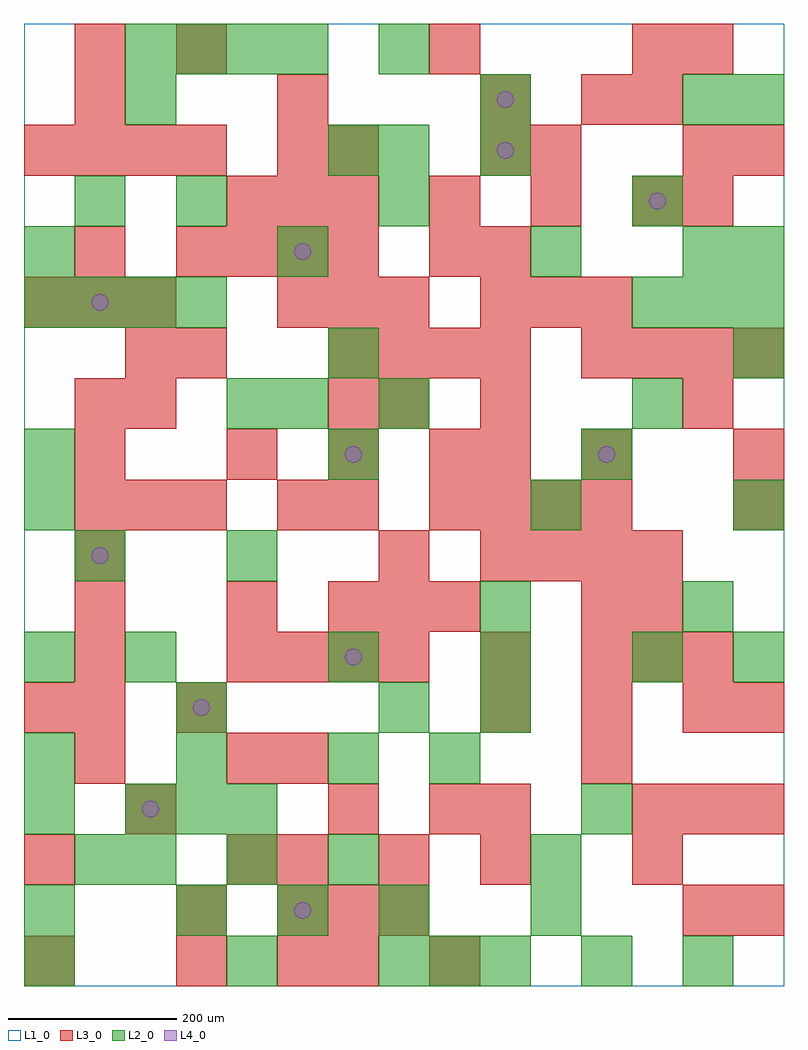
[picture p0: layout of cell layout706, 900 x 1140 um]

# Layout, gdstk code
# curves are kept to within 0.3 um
import gdstk
lib = gdstk.Library(unit=1e-6, precision=1e-09)
def R(c, l, rs):  # rectangles x0, y0, x1, y1
    for r in rs: c.add(gdstk.rectangle(r[:2], r[2:], *l))
def A(c, l, x, y, w, h, nx, ny, dx, dy):  # array of equal rectangles
    R(c, l, [(x+i*dx, y+j*dy, x+i*dx+w, y+j*dy+h) for i in range(nx) for j in range(ny)])
def P(c, l, *ps):  # polygons
    for p in ps: c.add(gdstk.Polygon(p, *l))
L1_0 = (1, 0)
L2_0 = (2, 0)
L3_0 = (3, 0)
L4_0 = (4, 0)

layout706 = lib.new_cell('layout706')
R(layout706, L1_0, [(0,0,900,1140)])
A(layout706, L2_0, 420, 0, 60, 60, 3, 1, 60, 0)
A(layout706, L2_0, 780, 0, 60, 60, 1, 3, 0, 420)
A(layout706, L2_0, 180, 60, 60, 60, 3, 1, 120, 0)
A(layout706, L2_0, 120, 120, 60, 60, 3, 1, 120, 0)
A(layout706, L2_0, 0, 180, 60, 60, 1, 3, 0, 180)
A(layout706, L2_0, 120, 180, 60, 60, 3, 1, 60, 0)
A(layout706, L2_0, 0, 240, 60, 60, 3, 1, 180, 0)
A(layout706, L2_0, 360, 360, 60, 60, 3, 1, 180, 0)
A(layout706, L2_0, 840, 360, 60, 60, 1, 3, 0, 180)
A(layout706, L2_0, 0, 780, 60, 60, 4, 1, 60, 0)
A(layout706, L2_0, 720, 780, 60, 60, 3, 1, 60, 0)
A(layout706, L2_0, 0, 840, 60, 60, 3, 1, 300, 0)
A(layout706, L2_0, 120, 1080, 60, 60, 4, 1, 60, 0)
R(layout706, L2_0, [(0,0,60,60), (240,0,300,60), (660,0,720,60), (0,60,60,120), (600,60,660,120), (60,120,120,180), (600,120,660,180), (660,180,720,240), (480,240,540,300), (180,300,240,360), (420,300,480,360), (540,300,600,360), (120,360,180,420), (540,420,600,480), (60,480,120,540), (240,480,300,540), (600,540,660,600), (0,600,60,660), (360,600,420,660), (660,600,720,660), (240,660,300,720), (300,660,360,720), (420,660,480,720), (720,660,780,720), (360,720,420,780), (840,840,900,900), (60,900,120,960), (180,900,240,960), (420,900,480,960), (720,900,780,960), (360,960,420,1020), (420,960,480,1020), (540,960,600,1020), (120,1020,180,1080), (540,1020,600,1080), (780,1020,840,1080), (840,1020,900,1080), (420,1080,480,1140)])
A(layout706, L3_0, 300, 60, 60, 60, 3, 2, 60, 720)
A(layout706, L3_0, 840, 60, 60, 60, 1, 3, 0, 240)
A(layout706, L3_0, 300, 120, 60, 60, 3, 1, 120, 0)
A(layout706, L3_0, 720, 180, 60, 60, 3, 1, 60, 0)
A(layout706, L3_0, 60, 240, 60, 60, 1, 5, 0, 60)
A(layout706, L3_0, 660, 240, 60, 60, 1, 3, 0, 180)
A(layout706, L3_0, 540, 300, 60, 60, 3, 1, 120, 0)
A(layout706, L3_0, 240, 360, 60, 60, 4, 1, 60, 0)
A(layout706, L3_0, 660, 360, 60, 60, 3, 1, 60, 0)
A(layout706, L3_0, 360, 420, 60, 60, 3, 1, 60, 0)
A(layout706, L3_0, 540, 480, 60, 60, 4, 1, 60, 0)
A(layout706, L3_0, 60, 540, 60, 60, 3, 1, 60, 0)
A(layout706, L3_0, 480, 540, 60, 60, 4, 1, 60, 0)
A(layout706, L3_0, 240, 600, 60, 60, 3, 1, 120, 0)
A(layout706, L3_0, 360, 720, 60, 60, 4, 1, 60, 0)
A(layout706, L3_0, 660, 720, 60, 60, 4, 1, 60, 0)
A(layout706, L3_0, 0, 780, 60, 60, 3, 1, 60, 0)
A(layout706, L3_0, 540, 780, 60, 60, 3, 1, 60, 0)
A(layout706, L3_0, 180, 840, 60, 60, 4, 1, 60, 0)
A(layout706, L3_0, 240, 900, 60, 60, 3, 1, 60, 0)
A(layout706, L3_0, 480, 900, 60, 60, 3, 1, 120, 0)
A(layout706, L3_0, 0, 960, 60, 60, 4, 1, 60, 0)
A(layout706, L3_0, 60, 1020, 60, 60, 3, 1, 240, 0)
R(layout706, L3_0, [(0,0,60,60), (180,0,240,60), (300,0,360,60), (360,0,420,60), (480,0,540,60), (180,60,240,120), (780,60,840,120), (0,120,60,180), (240,120,300,180), (720,120,780,180), (120,180,180,240), (360,180,420,240), (480,180,540,240), (540,180,600,240), (240,240,300,300), (300,240,360,300), (0,300,60,360), (180,300,240,360), (540,360,600,420), (240,420,300,480), (720,420,780,480), (420,480,480,540), (300,540,360,600), (360,540,420,600), (60,600,120,660), (540,600,600,660), (840,600,900,660), (60,660,120,720), (120,660,180,720), (360,660,420,720), (420,660,480,720), (540,660,600,720), (780,660,840,720), (120,720,180,780), (180,720,240,780), (60,840,120,900), (480,840,540,900), (540,840,600,900), (780,900,840,960), (300,960,360,1020), (360,960,420,1020), (540,960,600,1020), (600,960,660,1020), (780,960,840,1020), (840,960,900,1020), (660,1020,720,1080), (720,1020,780,1080), (60,1080,120,1140), (180,1080,240,1140), (480,1080,540,1140), (720,1080,780,1140), (780,1080,840,1140)])
P(layout706, L4_0, [(100,510),(99.239,513.827),(97.071,517.071),(93.827,519.239),(90,520),(86.173,519.239),(82.929,517.071),(80.761,513.827),(80,510),(80.761,506.173),(82.929,502.929),(86.173,500.761),(90,500),(93.827,500.761),(97.071,502.929),(99.239,506.173)],
  [(100,810),(99.239,813.827),(97.071,817.071),(93.827,819.239),(90,820),(86.173,819.239),(82.929,817.071),(80.761,813.827),(80,810),(80.761,806.173),(82.929,802.929),(86.173,800.761),(90,800),(93.827,800.761),(97.071,802.929),(99.239,806.173)],
  [(160,210),(159.239,213.827),(157.071,217.071),(153.827,219.239),(150,220),(146.173,219.239),(142.929,217.071),(140.761,213.827),(140,210),(140.761,206.173),(142.929,202.929),(146.173,200.761),(150,200),(153.827,200.761),(157.071,202.929),(159.239,206.173)],
  [(220,330),(219.239,333.827),(217.071,337.071),(213.827,339.239),(210,340),(206.173,339.239),(202.929,337.071),(200.761,333.827),(200,330),(200.761,326.173),(202.929,322.929),(206.173,320.761),(210,320),(213.827,320.761),(217.071,322.929),(219.239,326.173)],
  [(340,90),(339.239,93.827),(337.071,97.071),(333.827,99.239),(330,100),(326.173,99.239),(322.929,97.071),(320.761,93.827),(320,90),(320.761,86.173),(322.929,82.929),(326.173,80.761),(330,80),(333.827,80.761),(337.071,82.929),(339.239,86.173)],
  [(340,870),(339.239,873.827),(337.071,877.071),(333.827,879.239),(330,880),(326.173,879.239),(322.929,877.071),(320.761,873.827),(320,870),(320.761,866.173),(322.929,862.929),(326.173,860.761),(330,860),(333.827,860.761),(337.071,862.929),(339.239,866.173)],
  [(400,390),(399.239,393.827),(397.071,397.071),(393.827,399.239),(390,400),(386.173,399.239),(382.929,397.071),(380.761,393.827),(380,390),(380.761,386.173),(382.929,382.929),(386.173,380.761),(390,380),(393.827,380.761),(397.071,382.929),(399.239,386.173)],
  [(400,630),(399.239,633.827),(397.071,637.071),(393.827,639.239),(390,640),(386.173,639.239),(382.929,637.071),(380.761,633.827),(380,630),(380.761,626.173),(382.929,622.929),(386.173,620.761),(390,620),(393.827,620.761),(397.071,622.929),(399.239,626.173)],
  [(580,990),(579.239,993.827),(577.071,997.071),(573.827,999.239),(570,1000),(566.173,999.239),(562.929,997.071),(560.761,993.827),(560,990),(560.761,986.173),(562.929,982.929),(566.173,980.761),(570,980),(573.827,980.761),(577.071,982.929),(579.239,986.173)],
  [(580,1050),(579.239,1053.827),(577.071,1057.071),(573.827,1059.239),(570,1060),(566.173,1059.239),(562.929,1057.071),(560.761,1053.827),(560,1050),(560.761,1046.173),(562.929,1042.929),(566.173,1040.761),(570,1040),(573.827,1040.761),(577.071,1042.929),(579.239,1046.173)],
  [(700,630),(699.239,633.827),(697.071,637.071),(693.827,639.239),(690,640),(686.173,639.239),(682.929,637.071),(680.761,633.827),(680,630),(680.761,626.173),(682.929,622.929),(686.173,620.761),(690,620),(693.827,620.761),(697.071,622.929),(699.239,626.173)],
  [(760,930),(759.239,933.827),(757.071,937.071),(753.827,939.239),(750,940),(746.173,939.239),(742.929,937.071),(740.761,933.827),(740,930),(740.761,926.173),(742.929,922.929),(746.173,920.761),(750,920),(753.827,920.761),(757.071,922.929),(759.239,926.173)])

lib.write_gds('layout706.gds')
